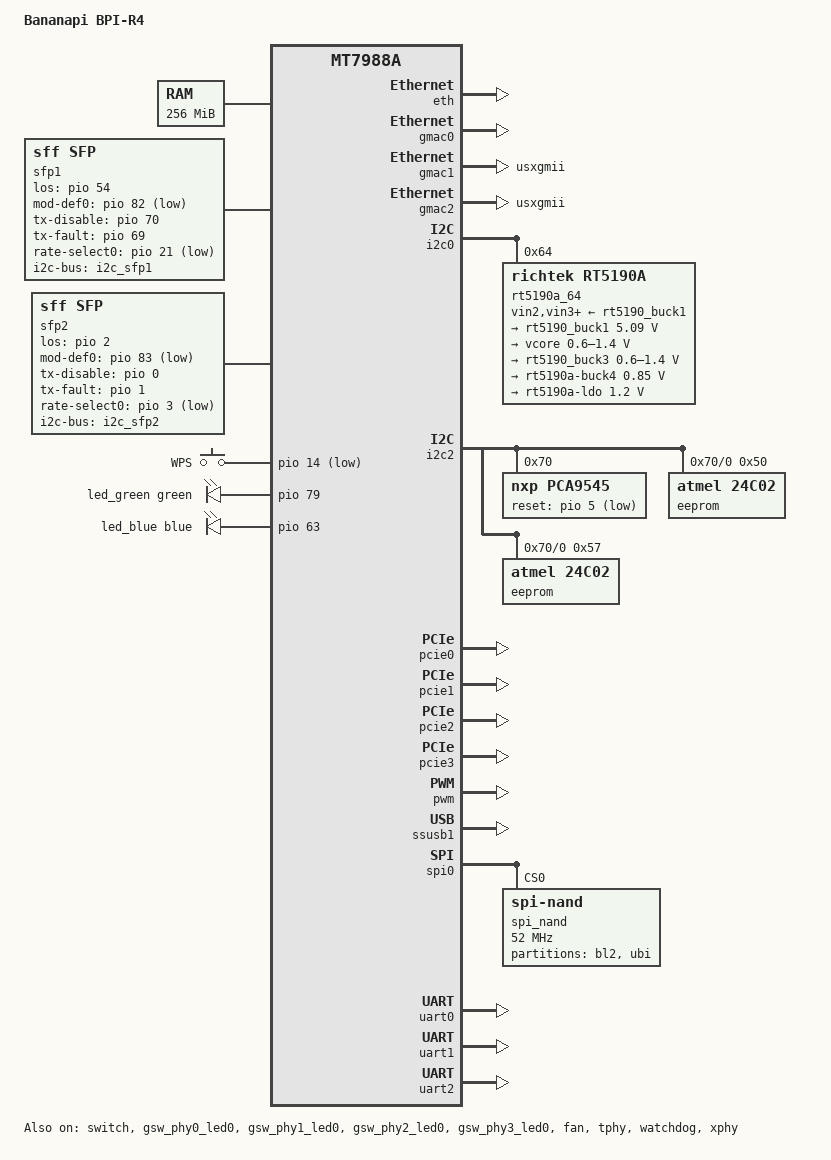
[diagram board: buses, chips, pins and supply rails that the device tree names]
// SPDX-License-Identifier: (GPL-2.0 OR MIT)
/*
 * Copyright (C) 2022 MediaTek Inc.
 * Author: Sam.Shih <sam.shih@mediatek.com>
 */

/dts-v1/;
#include "mt7988a.dtsi"
#include <dt-bindings/gpio/gpio.h>
#include <dt-bindings/input/input.h>
#include <dt-bindings/leds/common.h>
#include <dt-bindings/regulator/richtek,rt5190a-regulator.h>

/ {
	model = "Bananapi BPI-R4";
	compatible = "bananapi,bpi-r4",
		     "mediatek,mt7988a";

	aliases {
		ethernet0 = &gmac0;
		ethernet1 = &gmac1;
		serial0 = &uart0;
		led-boot = &led_green;
		led-failsafe = &led_green;
		led-running = &led_green;
		led-upgrade = &led_green;
	};

	chosen {
		stdout-path = &uart0;
		bootargs = "console=ttyS0,115200n1 loglevel=8 pci=pcie_bus_perf ubi.block=0,fit root=/dev/fit0 rootwait";
		rootdisk-spim-nand = <&ubi_rootfs>;
	};

	memory {
		reg = <0x00 0x40000000 0x00 0x10000000>;
	};

	/* SFP1 cage (WAN) */
	sfp1: sfp1 {
		compatible = "sff,sfp";
		i2c-bus = <&i2c_sfp1>;
		los-gpios = <&pio 54 GPIO_ACTIVE_HIGH>;
		mod-def0-gpios = <&pio 82 GPIO_ACTIVE_LOW>;
		tx-disable-gpios = <&pio 70 GPIO_ACTIVE_HIGH>;
		tx-fault-gpios = <&pio 69 GPIO_ACTIVE_HIGH>;
		rate-select0-gpios = <&pio 21 GPIO_ACTIVE_LOW>;
		maximum-power-milliwatt = <3000>;
	};

	/* SFP2 cage (LAN) */
	sfp2: sfp2 {
		compatible = "sff,sfp";
		i2c-bus = <&i2c_sfp2>;
		los-gpios = <&pio 2 GPIO_ACTIVE_HIGH>;
		mod-def0-gpios = <&pio 83 GPIO_ACTIVE_LOW>;
		tx-disable-gpios = <&pio 0 GPIO_ACTIVE_HIGH>;
		tx-fault-gpios = <&pio 1 GPIO_ACTIVE_HIGH>;
		rate-select0-gpios = <&pio 3 GPIO_ACTIVE_LOW>;
		maximum-power-milliwatt = <3000>;
	};

	gpio-keys {
		compatible = "gpio-keys";

		wps {
			label = "WPS";
			linux,code = <KEY_RESTART>;
			gpios = <&pio 14 GPIO_ACTIVE_LOW>;
		};
	};

	gpio-leds {
		compatible = "gpio-leds";

		led_green: led-green {
			function = LED_FUNCTION_STATUS;
			color = <LED_COLOR_ID_GREEN>;
			gpios = <&pio 79 GPIO_ACTIVE_HIGH>;
			default-state = "on";
		};

		led_blue: led-blue {
			function = LED_FUNCTION_WPS;
			color = <LED_COLOR_ID_BLUE>;
			gpios = <&pio 63 GPIO_ACTIVE_HIGH>;
			default-state = "off";
		};
	};
};

&eth {
	status = "okay";
};

&gmac0 {
	status = "okay";
};

&gmac1 {
	sfp = <&sfp2>;
	managed = "in-band-status";
	phy-mode = "usxgmii";
	status = "okay";
};

&gmac2 {
	sfp = <&sfp1>;
	managed = "in-band-status";
	phy-mode = "usxgmii";
	status = "okay";
};

&switch {
	status = "okay";
};

&gsw_phy0 {
	pinctrl-names = "gbe-led";
	pinctrl-0 = <&gbe0_led0_pins>;
};

&gsw_port0 {
	label = "wan";
};

&gsw_phy0_led0 {
	status = "okay";
	color = <LED_COLOR_ID_GREEN>;
};

&gsw_phy1 {
	pinctrl-names = "gbe-led";
	pinctrl-0 = <&gbe1_led0_pins>;
};

&gsw_phy1_led0 {
	status = "okay";
	color = <LED_COLOR_ID_GREEN>;
};

&gsw_phy2 {
	pinctrl-names = "gbe-led";
	pinctrl-0 = <&gbe2_led0_pins>;
};

&gsw_phy2_led0 {
	status = "okay";
	color = <LED_COLOR_ID_GREEN>;
};

&gsw_phy3 {
	pinctrl-names = "gbe-led";
	pinctrl-0 = <&gbe3_led0_pins>;
};

&gsw_phy3_led0 {
	status = "okay";
	color = <LED_COLOR_ID_GREEN>;
};

&cpu0 {
	proc-supply = <&rt5190_buck3>;
};

&cpu1 {
	proc-supply = <&rt5190_buck3>;
};

&cpu2 {
	proc-supply = <&rt5190_buck3>;
};

&cpu3 {
	proc-supply = <&rt5190_buck3>;
};

&cci {
	proc-supply = <&rt5190_buck3>;
};

&i2c0 {
	pinctrl-names = "default";
	pinctrl-0 = <&i2c0_pins>;
	status = "okay";

	rt5190a_64: rt5190a@64 {
		compatible = "richtek,rt5190a";
		reg = <0x64>;
		vin2-supply = <&rt5190_buck1>;
		vin3-supply = <&rt5190_buck1>;
		vin4-supply = <&rt5190_buck1>;

		regulators {
			rt5190_buck1: buck1 {
				regulator-name = "rt5190a-buck1";
				regulator-min-microvolt = <5090000>;
				regulator-max-microvolt = <5090000>;
				regulator-allowed-modes =
				<RT5190A_OPMODE_AUTO RT5190A_OPMODE_FPWM>;
				regulator-boot-on;
				regulator-always-on;
			};
			buck2 {
				regulator-name = "vcore";
				regulator-min-microvolt = <600000>;
				regulator-max-microvolt = <1400000>;
				regulator-boot-on;
				regulator-always-on;
			};
			rt5190_buck3: buck3 {
				regulator-name = "vproc";
				regulator-min-microvolt = <600000>;
				regulator-max-microvolt = <1400000>;
				regulator-boot-on;
			};
			buck4 {
				regulator-name = "rt5190a-buck4";
				regulator-min-microvolt = <850000>;
				regulator-max-microvolt = <850000>;
				regulator-allowed-modes =
				<RT5190A_OPMODE_AUTO RT5190A_OPMODE_FPWM>;
				regulator-boot-on;
				regulator-always-on;
			};
			ldo {
				regulator-name = "rt5190a-ldo";
				regulator-min-microvolt = <1200000>;
				regulator-max-microvolt = <1200000>;
				regulator-boot-on;
				regulator-always-on;
			};
		};
	};
};

&i2c2 {
	pinctrl-names = "default";
	pinctrl-0 = <&i2c2_1_pins>;
	status = "okay";

	pca9545: i2c-switch@70 {
		reg = <0x70>;
		compatible = "nxp,pca9545";
		reset-gpios = <&pio 5 GPIO_ACTIVE_LOW>;
		#address-cells = <1>;
		#size-cells = <0>;

		i2c_rtc: i2c@0 { //eeprom,rtc,ngff
			#address-cells = <1>;
			#size-cells = <0>;
			reg = <0>;

			eeprom@50 {
				compatible = "atmel,24c02";
				reg = <0x50>;
				address-bits = <8>;
				page-size = <8>;
				size = <256>;
			};

			eeprom@57 {
				compatible = "atmel,24c02";
				reg = <0x57>;
				address-bits = <8>;
				page-size = <8>;
				size = <256>;
			};

			pcf8563: rtc@51 {
				compatible = "nxp,pcf8563";
				reg = <0x51>;
				status = "disabled";
			};
		};

		i2c_sfp1: i2c@1 {
			#address-cells = <1>;
			#size-cells = <0>;
			reg = <1>;
		};

		i2c_sfp2: i2c@2 {
			#address-cells = <1>;
			#size-cells = <0>;
			reg = <2>;
		};

		i2c_wifi: i2c@3 {
			#address-cells = <1>;
			#size-cells = <0>;
			reg = <3>;
		};
	};
};

/* mPCIe SIM2 */
&pcie0 {
	pinctrl-names = "default";
	pinctrl-0 = <&pcie0_pins>;
	status = "okay";
};

/* mPCIe SIM3 */
&pcie1 {
	pinctrl-names = "default";
	pinctrl-0 = <&pcie1_pins>;
	status = "okay";
};

/* M.2 key-B SIM1 */
&pcie2 {
	pinctrl-names = "default";
	pinctrl-0 = <&pcie2_pins>;
	status = "okay";
};

/* M.2 key-M SSD */
&pcie3 {
	pinctrl-names = "default";
	pinctrl-0 = <&pcie3_pins>;
	status = "okay";
};

&pwm {
	status = "okay";
};

&fan {
	pwms = <&pwm 0 50000>;
	status = "okay";
};

&ssusb1 {
	status = "okay";
};

&tphy {
	status = "okay";
};

&spi0 {
	pinctrl-names = "default";
	pinctrl-0 = <&spi0_flash_pins>;
	status = "okay";

	spi_nand: spi_nand@0 {
		compatible = "spi-nand";
		reg = <0>;
		spi-max-frequency = <52000000>;
		spi-tx-buswidth = <4>;
		spi-rx-buswidth = <4>;
	};
};

&spi_nand {
	partitions {
		compatible = "fixed-partitions";
		#address-cells = <1>;
		#size-cells = <1>;

		partition@0 {
			label = "bl2";
			reg = <0x0 0x200000>;
			read-only;
		};

		partition@200000 {
			label = "ubi";
			reg = <0x200000 0x7e00000>;
			compatible = "linux,ubi";

			volumes {
				ubi-volume-ubootenv {
					volname = "ubootenv";
					nvmem-layout {
						compatible = "u-boot,env-redundant-bool-layout";
					};
				};

				ubi-volume-ubootenv2 {
					volname = "ubootenv2";
					nvmem-layout {
						compatible = "u-boot,env-redundant-bool-layout";
					};
				};

				ubi_rootfs: ubi-volume-fit {
					volname = "fit";
				};
			};
		};
	};
};

&uart0 {
	status = "okay";
};

&uart1 {
	status = "okay";
	pinctrl-names = "default";
	pinctrl-0 = <&uart1_2_lite_pins>;
};

&uart2 {
	status = "okay";
	pinctrl-names = "default";
	pinctrl-0 = <&uart2_3_pins>;
};

&watchdog {
	status = "okay";
};

&xphy {
	status = "okay";
};
